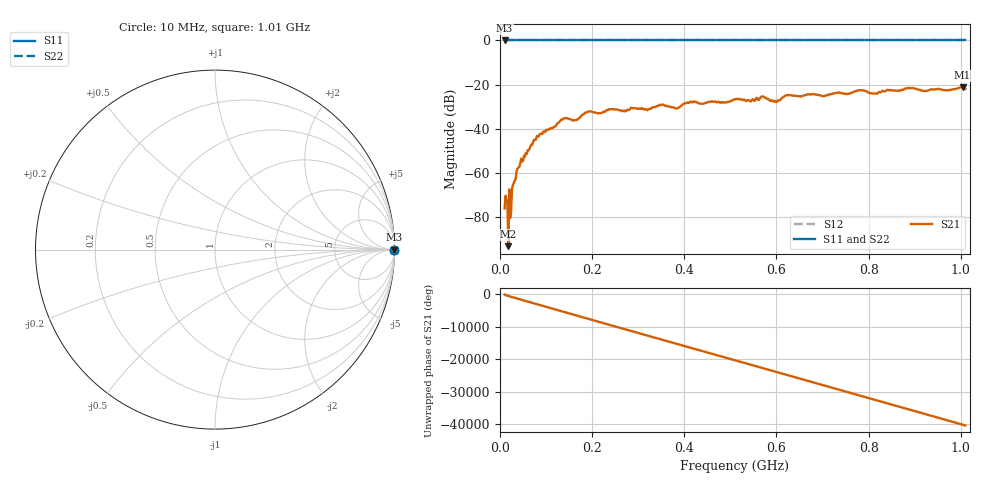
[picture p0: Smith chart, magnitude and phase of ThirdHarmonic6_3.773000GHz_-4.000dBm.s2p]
! 8/17/2025 12:59:22 PM
! C:\ANRITSUVNA\TEMP\TEMP.S2P
! CHANNEL.1
! TR.MEASUREMENT
! RAW.DATA
! RF.CORRECTION.OFF
! AVERAGING.OFF
! IF.BANDWIDTH: 5KHZ
! SWEEPTYPE:  FREQ.SWEEP(Linear)
! Reference Plane Port Info
! PORT:  PORT1  PORT2
! DISTANCE:  0  m  0  m
! TIME:  0  s  0  s
! PHASE.OFFSET:  0  deg.  0  deg.
! LOSS:  0  dB  0  dB
! REF.LOSS:  0  dB  0  dB
! REF.FREQ:  0  Hz  0  Hz
! Power Info
! POWER:  -20  dBm  -20  dBm
! EFF.POWER:  -20  dBm  -20  dBm
! SOURCE.ATTEN:  0  dB  0  dB
! TEST.ATTEN:  0  dB  0  dB
# GHZ S RI R 50.0
! FREQ.GHZ  S11RE  S11IM  S21RE  S21IM  S12RE  S12IM  S22RE  S22IM
!; PortSelection: Port_12
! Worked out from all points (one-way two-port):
!   501 points, 10 MHz to 1.01 GHz, reference 50 ohm
!   highest |S21| = -21.22 dB at 1.004 GHz (marker M1); lowest = -93.1 dB at 18 MHz (marker M2)
!   lowest |S11| = 0.0 dB at 10 MHz (marker M3)
!   |S11| at or under -10 dB: nowhere
!   |S22| runs from 0.0 to 0.0 dB; largest |S21 - S12| = 1.1
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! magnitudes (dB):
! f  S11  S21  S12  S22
! 10 MHz  0.0  -76.1  0.0  0.0
! 16 MHz  0.0  -72.6  0.0  0.0
! 18 MHz  0.0  -93.1  0.0  0.0
! 22 MHz  0.0  -80.4  0.0  0.0
! 26 MHz  0.0  -67.3  0.0  0.0
! 30 MHz  0.0  -64.6  0.0  0.0
! 42 MHz  0.0  -57.2  0.0  0.0
! 76 MHz  0.0  -45.0  0.0  0.0
! 136 MHz  0.0  -35.8  0.0  0.0
! 162 MHz  0.0  -36.1  0.0  0.0
! 178 MHz  0.0  -33.8  0.0  0.0
! 344 MHz  0.0  -29.6  0.0  0.0
! 384 MHz  0.0  -30.8  0.0  0.0
! 418 MHz  0.0  -28.0  0.0  0.0
! 510 MHz  0.0  -26.6  0.0  0.0
! 570 MHz  0.0  -25.3  0.0  0.0
! 598 MHz  0.0  -27.5  0.0  0.0
! 624 MHz  0.0  -24.7  0.0  0.0
! 678 MHz  0.0  -24.3  0.0  0.0
! 844 MHz  0.0  -22.5  0.0  0.0
! 1.004 GHz  0.0  -21.2  0.0  0.0
! 1.01 GHz  0.0  -21.9  0.0  0.0
